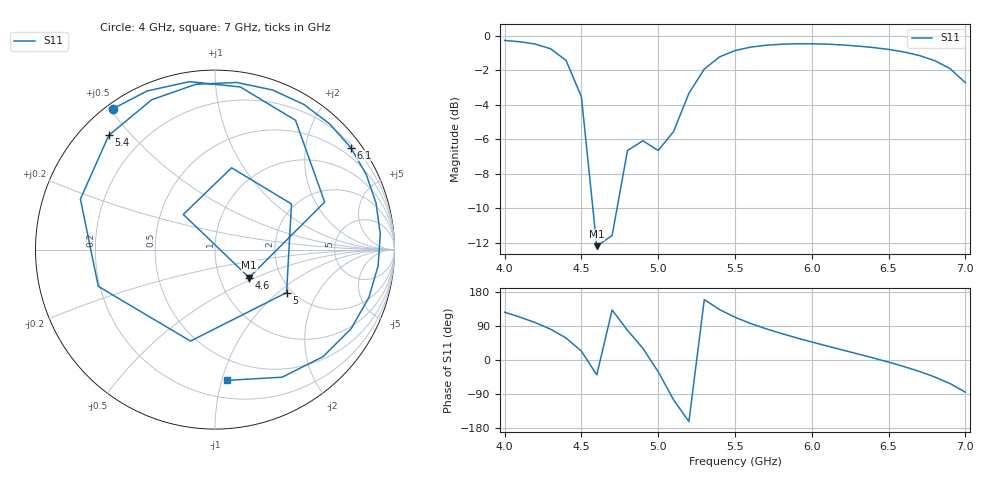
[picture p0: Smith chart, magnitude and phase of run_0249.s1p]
! Touchstone file exported from HFSS 2024.2.0
!  File:  C:/Users/wsak9/Desktop/Sim Fast/Widenad Patch/WP_AI_V1_sweep.aedt
!  Generated:  01:27:52 AM Oct 14, 2026
!  Design:  A1_model
!  Project:  WP_AI_V1_sweep
!  Setup:  Setup1
!  Solution:  Sweep
! Variables:
!  Air_gap = 1.98mm
!  Curve_Amp1 = 2.65
!  Curve_len1 = 1
!  Curve_pos = 11.785mm
!  Extra = 2.23mm
!  H_sub = 0.79mm
!  L_Patch = 19.57mm
!  L_Patch1 = 13.11mm
!  Sx = 3.73mm
!  Sy = 0.84mm
!  WS = 0.27mm
!  W_Patch = 19.32mm
!  W_Patch1 = 10.88mm
!Data is not renormalized
# GHz S MA
! Terminal data exported
! Port[1] = 1
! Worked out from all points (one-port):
!   31 points, 4 GHz to 7 GHz, reference per port
!   lowest |S11| = -12.2 dB at 4.6 GHz (marker M1), VSWR 1.65
!   |S11| at or under -10 dB: 4.575 GHz to 4.732 GHz (157.3 MHz wide, 3.38 % of centre)
!   S11 on the Smith chart (normalised r, x): 4 GHz: 0.02, +0.51; 4.6 GHz: 1.38, -0.46; 5 GHz: 1.87, -1.14; 5.4 GHz: 0.08, +0.43; 6.1 GHz: 0.28, +2.97; 7 GHz: 0.33, -1.04
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4  0.9696 126.1
4.1  0.9613 113.2
4.2  0.9465 98.6
4.3  0.917 81.1
4.4  0.8486 58.1
4.5  0.666 23.4
4.6  0.2456 -39.3
4.7  0.2638 132.0
4.8  0.465 78.5
4.9  0.4962 30.8
5  0.4652 -31.0
5.1  0.5277 -105.0
5.2  0.6816 -162.5
5.3  0.801 159.4
5.4  0.8691 132.9
5.5  0.9064 112.9
5.6  0.9272 96.6
5.7  0.939 82.6
5.8  0.9454 70.1
5.9  0.9482 58.5
6.1  0.9459 36.9
6.3  0.9336 16.0
6.5  0.9134 -5.6
6.6  0.8979 -17.3
6.7  0.877 -30.1
6.8  0.8475 -44.7
6.9  0.8034 -62.2
7  0.7316 -84.9
